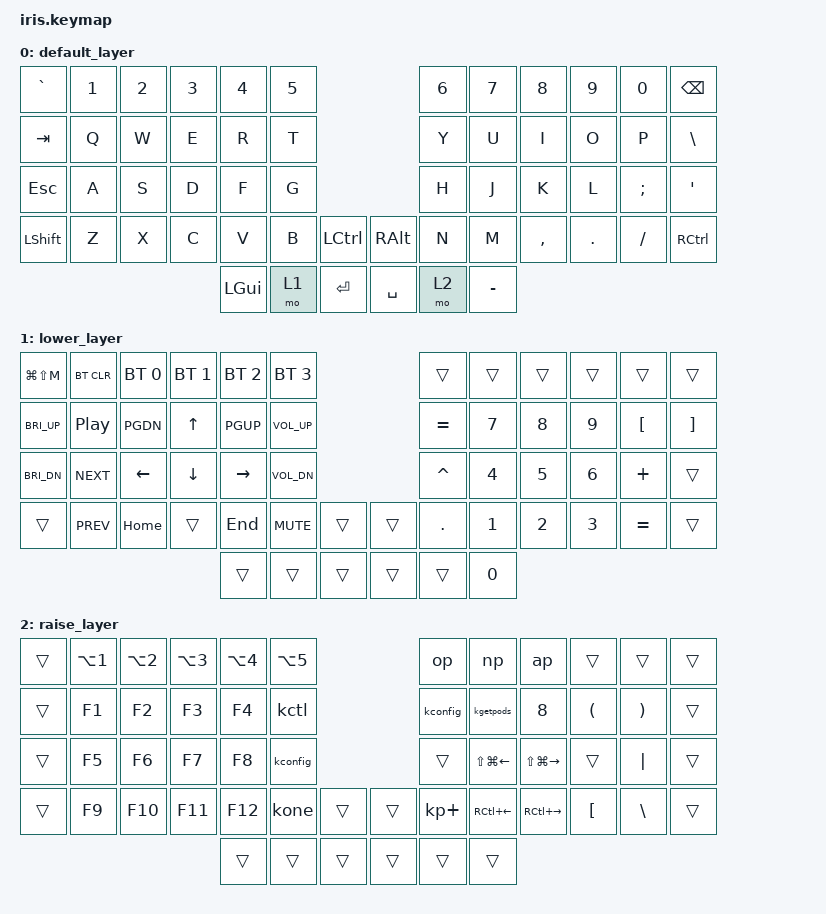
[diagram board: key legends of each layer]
/*
 * Copyright (c) 2020 The ZMK Contributors
 *
 * SPDX-License-Identifier: MIT
 */

#include <behaviors.dtsi>
#include <dt-bindings/zmk/keys.h>
#include <dt-bindings/zmk/bt.h>

/ {
    macros {
        op: op {
            label = "ZM_op";
            compatible = "zmk,behavior-macro";
            wait-ms = <10>;
            tap-ms = <20>;
            #binding-cells = <0>;
            bindings
                = <&macro_tap &kp LS(I) &kp LS(A) &kp M &kp LS(M) &kp A &kp R &kp R &kp I &kp E &kp D &kp N2 &kp LS(A) &kp S &kp U &kp K &kp A &kp EXCL>
                ;
        };
        np: np {
            label = "ZM_np";
            compatible = "zmk,behavior-macro";
            wait-ms = <35>;
            tap-ms = <35>;
            #binding-cells = <0>;
            bindings
                = <&macro_tap &kp LS(H) &kp A &kp V &kp E &kp N4 &kp LS(B) &kp E &kp E &kp R &kp S &kp LS(W) &kp I &kp T &kp H &kp LS(A) &kp S &kp U &kp K &kp A &kp EXCL>
                ;
        };
        ap: ap { 
            label = "ZM_";
            compatible = "zmk,behavior-macro";
            wait-ms = <35>;
            tap-ms = <35>;
            #binding-cells = <0>;
            bindings
                = <&macro_tap &kp N6 &kp V &kp LS(I) &kp LS(Y) &kp LS(R) &kp LS(U) &kp T &kp LS(M) &kp LS(G) &kp C &kp Y &kp N4 &kp E &kp F &kp A &kp O &kp LS(R) &kp LS(Q) &kp LS(K) &kp A &kp N9 &kp LS(M)>
                ;
        };
        kctl: kctl { 
            label = "ZM_";
            compatible = "zmk,behavior-macro";
            wait-ms = <5>;
            tap-ms = <10>;
            #binding-cells = <0>;
            bindings
                = <&macro_tap &kp K &kp U &kp B &kp E &kp C &kp T &kp L &kp SPACE>
                ;
        };
        kconfig: kconfig {
            label = "ZM_kconfig";
            compatible = "zmk,behavior-macro";
            wait-ms = <5>;
            tap-ms = <10>;
            #binding-cells = <0>;
            bindings
                = <&macro_tap &kp MINUS &kp MINUS &kp K &kp U &kp B &kp E &kp C &kp O &kp N &kp F &kp I &kp G &kp SPACE &kp TILDE &kp FSLH &kp DOT &kp K &kp U &kp B &kp E &kp FSLH>
                ;
        };
        kgetpods: kgetpods {
            label = "ZM_getpods";
            compatible = "zmk,behavior-macro";
            wait-ms = <5>;
            tap-ms = <10>;
            #binding-cells = <0>;
            bindings
                = <&macro_tap &kp G &kp E &kp T &kp SPACE &kp P &kp O &kp D &kp S &kp SPACE &kp MINUS &kp LS(A) &kp PIPE &kp G &kp R &kp E &kp P &kp SPACE &kp MINUS &kp V &kp SPACE &kp LS(R) &kp U &kp N &kp N &kp I &kp N &kp G> 
                ;
        };
        kone: kone {
            label = "ZM_kone";
            compatible = "zmk,behavior-macro";
            wait-ms = <5>;
            tap-ms = <10>;
            #binding-cells = <0>;
            bindings
                = <&macro_tap &kp A &kp W &kp K &kp SPACE &kp SQT &kp LBKT &kp SPACE &kp P &kp R &kp I &kp N &kp T &kp SPACE &kp DOLLAR &kp N1 &kp SPACE &kp RBKT &kp SQT>  
                ;
        };
   };

	keymap {
		compatible = "zmk,keymap";

		default_layer {
// ------------------------------------------------------------------------------------------------------------
// |  ESC  |  1  |  2  |  3   |  4   |  5   |                   |  6   |  7    |  8    |  9   |   0   |   `   |
// |  TAB  |  Q  |  W  |  E   |  R   |  T   |                   |  Y   |  U    |  I    |  O   |   P   |   -   |
// |  CTRL |  A  |  S  |  D   |  F   |  G   |                   |  H   |  J    |  K    |  L   |   ;   |   '   |
// | SHIFT |  Z  |  X  |  C   |  V   |  B   |   "["  |  |  "]"  |  N   |  M    |  ,    |  .   |   /   | SHIFT |
//                     		  | GUI  | LOWER|  SPACE |  | ENTER | RAISE|  ALT  |
			bindings = <
&kp GRAVE &kp N1 &kp N2 &kp N3 &kp N4   &kp N5                      &kp N6 &kp N7 &kp N8    &kp N9  &kp N0   &kp BSPC
&kp TAB   &kp Q  &kp W  &kp E  &kp R    &kp T                       &kp Y  &kp U  &kp I     &kp O   &kp P    &kp BSLH
&kp ESC   &kp A  &kp S  &kp D  &kp F    &kp G                       &kp H  &kp J  &kp K     &kp L   &kp SEMI &kp SQT
&kp LSHFT &kp Z  &kp X  &kp C  &kp V    &kp B   &kp LCTRL &kp RALT    &kp N  &kp M  &kp COMMA &kp DOT &kp FSLH &kp RCTRL
                   			   &kp LGUI &mo 1   &kp RET   &kp SPACE  &mo 2  &kp MINUS
			>;
		};

		lower_layer {
// ------------------------------------------------------------------------------------------------------------
// | BTCLR | BT1 | BT2 |  BT3 |  BT4 |  BT5 |                   |      |       |       |      |       |       |
// |  F1   |  F2 |  F3 |  F4  |  F5  |  F6  |                   |  F7  |  F8   |  F9   |  F10 |  F11  |  F12  |
// |   `   |  !  |  @  |  #   |  $   |  %   |                   |  ^   |  &    |  *    |  (   |   )   |   ~   |
// |       |     |     |      |      |      |        |  |       |      |  _    |  +    |  {   |   }   |  "|"  |
//                            |      |      |        |  |       |      |       |
			bindings = <
&kp LG(LS(M)) &bt BT_CLR    &bt BT_SEL 0 &bt BT_SEL 1 &bt BT_SEL 2 &bt BT_SEL 3                    &trans    &trans    &trans     &trans   &trans     &trans
&kp C_BRI_UP  &kp C_PP     &kp PGDN     &kp UP       &kp PGUP     &kp C_VOL_UP                    &kp EQUAL &kp N7    &kp N8     &kp N9   &kp LBKT   &kp RBKT
&kp C_BRI_DN  &kp C_NEXT   &kp LEFT     &kp DOWN     &kp RIGHT    &kp C_VOL_DN                    &kp CARET &kp N4    &kp N5     &kp N6   &kp PLUS   &trans
&trans        &kp C_PREV   &kp HOME     &trans       &kp END      &kp C_MUTE    &trans   &trans   &kp DOT   &kp N1    &kp N2     &kp N3   &kp EQUAL  &trans
                    					             &trans       &trans        &trans   &trans   &trans    &kp N0
			>;
		};

		raise_layer {
// ------------------------------------------------------------------------------------------------------------
// |       |     |     |      |      |      |                   |      |       |       |      |       |       |
// |   `   |  1  |  2  |  3   |  4   |  5   |                   |  6   |   7   |   8   |  9   |   0   |       |
// |   F1  |  F2 |  F3 |  F4  |  F5  |  F6  |                   |      |   <-  |   ^   |  v   |  ->   |       |
// |   F7  |  F8 |  F9 |  F10 |  F11 |  F12 |        |  |       |  +   |   -   |   =   |  [   |   ]   |   \   |
//                            |      |      |        |  |       |      |       |
			bindings = <
&trans    &kp LA(N1) &kp LA(N2) &kp LA(N3) &kp LA(N4) &kp LA(N5)                   &op         &np               &ap                &trans   &trans    &trans
&trans    &kp F1     &kp F2     &kp F3     &kp F4     &kctl                        &kconfig    &kgetpods         &kp N8             &kp LPRN &kp RPRN  &trans
&trans    &kp F5     &kp F6     &kp F7     &kp F8     &kconfig                     &trans      &kp LS(LG(LEFT))  &kp LS(LG(RIGHT))  &trans   &kp PIPE  &trans
&trans    &kp F9     &kp F10    &kp F11    &kp F12    &kone     &trans   &trans    &kp KP_PLUS &kp RC(LEFT)      &kp RC(RIGHT)      &kp LBKT &kp BSLH  &trans
                   		   	   	           &trans     &trans    &trans   &trans    &trans      &trans
			>;
		};
	};
};
